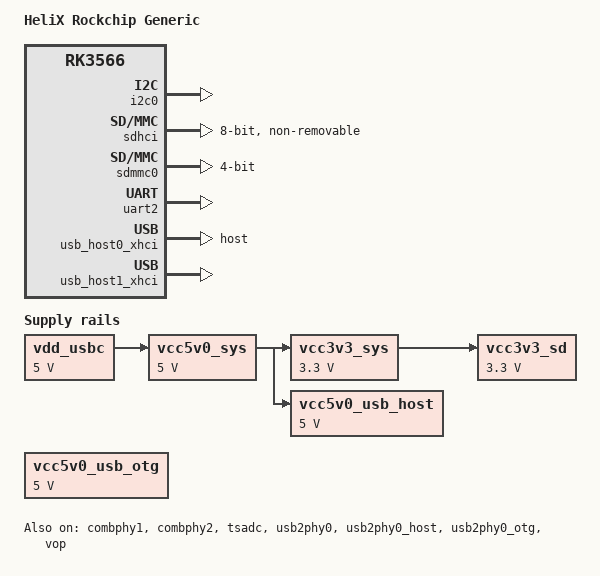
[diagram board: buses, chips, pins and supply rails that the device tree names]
// SPDX-License-Identifier: GPL-2.0-or-later OR MIT
/*
 * Copyright (c) 2025 Serhii Serhieiev <adron@ngnp.net>
 */

/dts-v1/;
#include <dt-bindings/gpio/gpio.h>
#include <dt-bindings/input/input.h>
#include <dt-bindings/leds/common.h>
#include <dt-bindings/pinctrl/rockchip.h>
#include <dt-bindings/soc/rockchip,vop2.h>
#include "rk3566.dtsi"

/ {
	model = "HeliX Rockchip Generic";
	compatible = "helix,rockchip-generic", "rockchip,rk3566";

	aliases {
		mmc0 = &sdmmc0;
		mmc1 = &sdhci;
	};

	chosen: chosen {
		stdout-path = "serial2:1500000n8";
	};

	vdd_usbc: vdd-usbc-regulator {
		compatible = "regulator-fixed";
		regulator-name = "vdd_usbc";
		regulator-always-on;
		regulator-boot-on;
		regulator-min-microvolt = <5000000>;
		regulator-max-microvolt = <5000000>;
	};

	vcc3v3_sys: regulator-vcc3v3-sys {
		compatible = "regulator-fixed";
		regulator-name = "vcc3v3_sys";
		regulator-always-on;
		regulator-boot-on;
		regulator-min-microvolt = <3300000>;
		regulator-max-microvolt = <3300000>;
		vin-supply = <&vcc5v0_sys>;
	};

	vcc5v0_sys: regulator-vcc5v0-sys {
		compatible = "regulator-fixed";
		regulator-name = "vcc5v0_sys";
		regulator-always-on;
		regulator-boot-on;
		regulator-min-microvolt = <5000000>;
		regulator-max-microvolt = <5000000>;
		vin-supply = <&vdd_usbc>;
	};

	vcc5v0_usb_host: regulator-vcc5v0-usb2-host {
		compatible = "regulator-fixed";
		enable-active-high;
		regulator-name = "vcc5v0_usb2_host";
		regulator-always-on;
		regulator-boot-on;
		regulator-min-microvolt = <5000000>;
		regulator-max-microvolt = <5000000>;
		vin-supply = <&vcc5v0_sys>;
	};

	vcc5v0_usb_otg: regulator-vcc5v0-usb2-otg {
		compatible = "regulator-fixed";
		enable-active-high;
		regulator-name = "vcc5v0_usb2_otg";
		regulator-min-microvolt = <5000000>;
		regulator-max-microvolt = <5000000>;
	};

	vcc3v3_sd: vcc3v3_sd {
		compatible = "regulator-fixed";
		regulator-boot-on;
		regulator-name = "vcc3v3_sd";
		regulator-min-microvolt = <3300000>;
		regulator-max-microvolt = <3300000>;
		vin-supply = <&vcc3v3_sys>;
	};

};

&combphy1 {
	status = "okay";
};

&combphy2 {
	status = "okay";
};

&i2c0 {
	status = "okay";
};

&sdhci {
	bus-width = <8>;
	max-frequency = <200000000>;
	mmc-hs200-1_8v;
	non-removable;
	pinctrl-names = "default";
	pinctrl-0 = <&emmc_bus8 &emmc_clk &emmc_cmd &emmc_datastrobe>;
	status = "okay";
};

&sdmmc0 {
	bus-width = <4>;
	cap-mmc-highspeed;
	cap-sd-highspeed;
	disable-wp;
	sd-uhs-sdr104;
	pinctrl-names = "default";
	pinctrl-0 = <&sdmmc0_bus4 &sdmmc0_clk &sdmmc0_cmd &sdmmc0_det>;
	status = "okay";
};

&tsadc {
	status = "okay";
};

&uart2 {
	status = "okay";
};

&usb2phy0 {
	status = "okay";
};

&usb2phy0_host {
	phy-supply = <&vcc5v0_usb_host>;
	status = "okay";
};

&usb2phy0_otg {
	phy-supply = <&vcc5v0_usb_otg>;
	status = "okay";
};

&usb_host0_xhci {
	dr_mode = "host";
	/* phys = <&usb2phy0_otg>; */
	/* phy-names = "usb2-phy"; */
	status = "okay";
};

&usb_host1_xhci {
	status = "okay";
};

&vop {
	assigned-clocks = <&cru DCLK_VOP0>, <&cru DCLK_VOP1>;
	assigned-clock-parents = <&pmucru PLL_HPLL>, <&cru PLL_VPLL>;
	status = "okay";
};

&vop_mmu {
	status = "okay";
};
